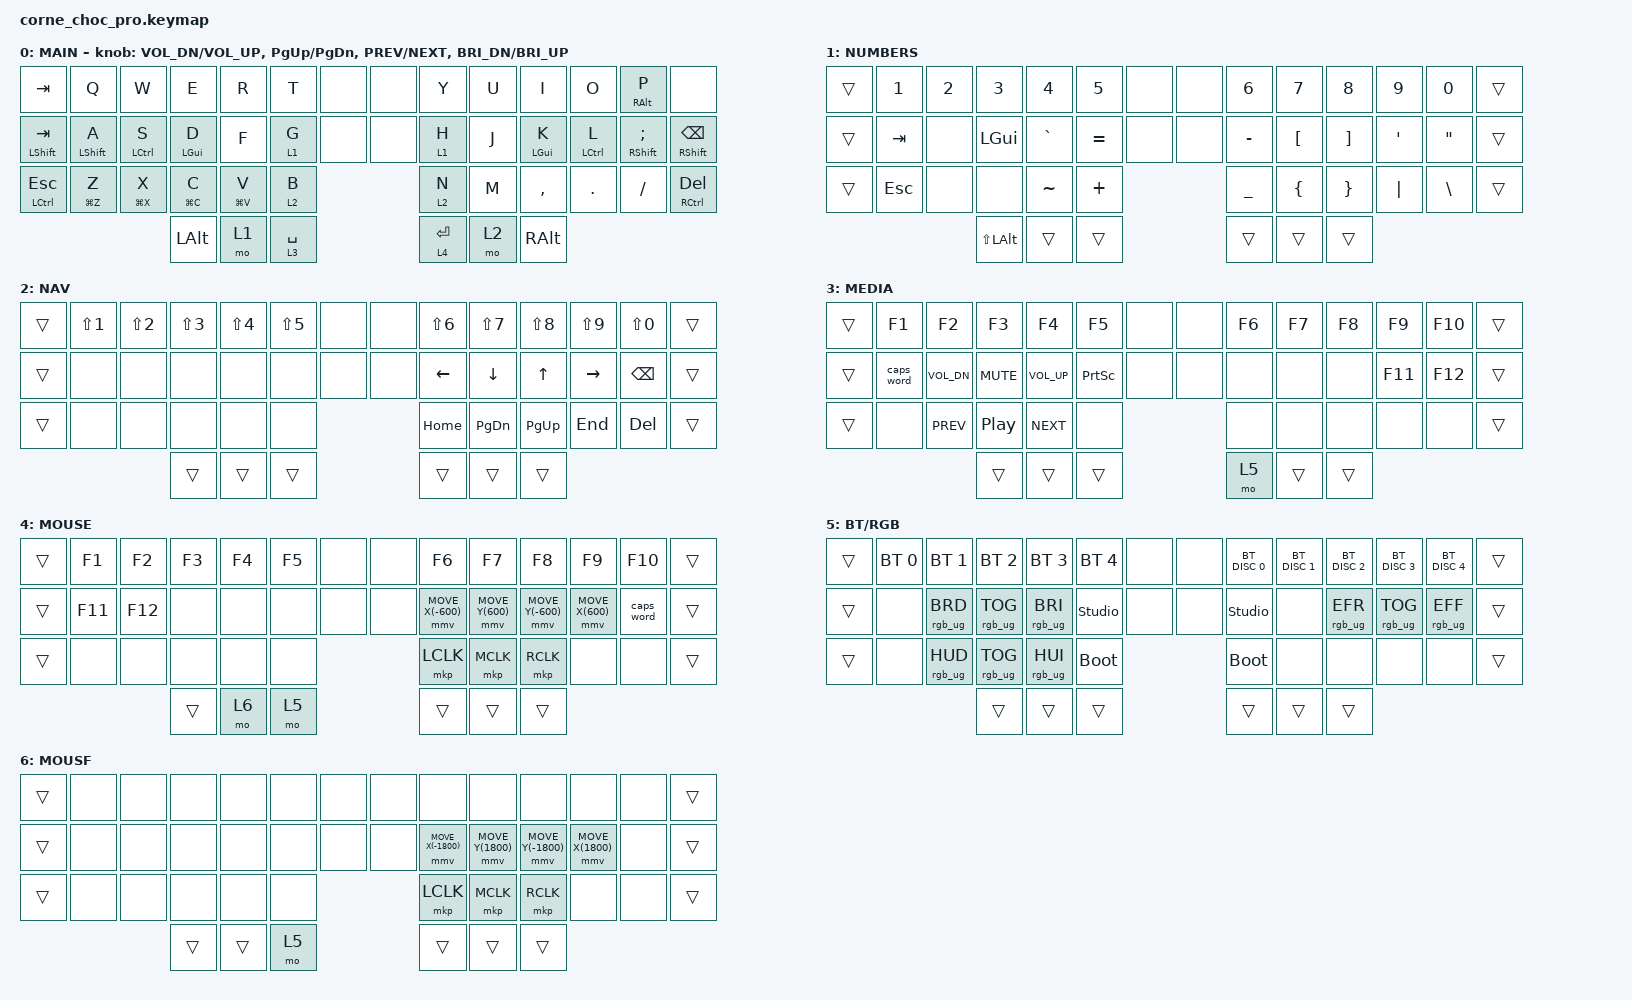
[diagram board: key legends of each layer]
/*
 * Copyright (c) 2020 The ZMK Contributors
 *
 * SPDX-License-Identifier: MIT
 */

#include <behaviors.dtsi>
#include <dt-bindings/zmk/keys.h>
#include <dt-bindings/zmk/bt.h>
#include <dt-bindings/zmk/pointing.h>
#include <dt-bindings/zmk/rgb.h>
#include "key-labels/corne_choc_pro.h"
#include "behaviors.dtsi"

/ {
    chosen {
        zmk,physical-layout = &default_layout;
    };
    combos {
        compatible = "zmk,combos";

        combo_df {
            timeout-ms = <50>;
            require-prior-idle-ms = <50>;
            key-positions = <17 18>;
            bindings = <&kp ESC>;
        };

        combo_jk {
            timeout-ms = <50>;
            require-prior-idle-ms = <50>;
            key-positions = <23 24>;
            bindings = <&kp ESC>;
        };

        combo_caps_word {
            timeout-ms = <50>;
            key-positions = <LM4 RM4>;
            bindings = <&caps_word>;
        };
    };

    keymap {
        compatible = "zmk,keymap";

        default_layer {
            display-name = "MAIN";
            bindings = <
            &kp TAB         &kp Q               &kp W               &kp E               &kp R               &kp T            &none   &none   &kp Y           &kp U             &kp I                 &kp O            &hmr RALT P      &none
            &mtq LSHIFT TAB &hml LSHIFT A       &hml LCTRL S        &hml LGUI D         &kp F               &ltq 1 G         &none   &none   &ltq 1 H        &kp J             &hmr LGUI K           &hmr LCTRL L     &hmr RSHIFT SEMI &mtq RSHIFT BSPC
            &mtq LCTRL ESC  &mts LG(Z) Z        &mts LG(X) X        &mts LG(C) C        &mts LG(V) V        &ltq 2 B                         &ltq 2 N        &kp M             &kp COMMA             &kp DOT          &kp FSLH         &mtq RCTRL DELETE
                                                                    &kp LALT            &mo 1               &lts 3 SPACE                     &lts 4 RET      &mo 2             &kp RALT
            >;
            sensor-bindings = <&inc_dec_kp C_VOL_DN C_VOL_UP &inc_dec_kp PG_UP PG_DN &inc_dec_kp C_PREV C_NEXT &inc_dec_kp C_BRI_DN C_BRI_UP>;
        };

        numbers_layer {
            display-name = "NUMBERS";
            bindings = <
            &trans  &kp N1              &kp N2              &kp N3              &kp N4              &kp N5           &none   &none   &kp N6          &kp N7            &kp N8                &kp N9           &kp N0           &trans
            &trans  &kp TAB             &none               &kp LGUI            &kp GRAVE           &kp EQUAL        &none   &none   &kp MINUS       &kp LEFT_BRACKET  &kp RIGHT_BRACKET     &kp SQT          &kp DQT          &trans
            &trans  &kp ESC             &none               &none               &kp TILDE           &kp PLUS                         &kp UNDER       &kp LEFT_BRACE    &kp RIGHT_BRACE       &kp PIPE         &kp BSLH         &trans
                                                            &kp LS(LALT)        &trans              &trans           &trans          &trans            &trans
            >;
        };

        nav_layer {
            display-name = "NAV";
            bindings = <
            &trans  &kp LS(N1)          &kp LS(N2)          &kp LS(N3)          &kp LS(N4)          &kp LS(N5)       &none   &none   &kp LS(N6)      &kp LS(N7)        &kp LS(N8)            &kp LS(N9)       &kp LS(N0)       &trans
            &trans  &none               &none               &none               &none               &none            &none   &none   &kp LEFT        &kp DOWN          &kp UP                &kp RIGHT        &kp BSPC         &trans
            &trans  &none               &none               &none               &none               &none                            &kp HOME        &kp PG_DN         &kp PG_UP             &kp END          &kp DELETE       &trans
                                                            &trans              &trans              &trans                           &trans          &trans            &trans
            >;
        };

        media_layer {
            display-name = "MEDIA";
            bindings = <
            &trans  &kp F1              &kp F2              &kp F3              &kp F4              &kp F5           &none   &none   &kp F6          &kp F7            &kp F8                &kp F9           &kp F10          &trans
            &trans  &caps_word          &kp C_VOL_DN        &kp C_MUTE          &kp C_VOL_UP        &kp PRINTSCREEN  &none   &none   &none           &none             &none                 &kp F11          &kp F12          &trans
            &trans  &none               &kp C_PREV          &kp C_PP            &kp C_NEXT          &none                            &none           &none             &none                 &none            &none            &trans
                                                            &trans              &trans              &trans                           &mo 5           &trans            &trans
            >;
        };

        mouse_layer {
            display-name = "MOUSE";
            bindings = <
            &trans  &kp F1              &kp F2              &kp F3              &kp F4              &kp F5           &none   &none   &kp F6          &kp F7            &kp F8                &kp F9           &kp F10          &trans
            &trans  &kp F11             &kp F12             &none               &none               &none            &none   &none   &mmv MOVE_X(-600) &mmv MOVE_Y(600) &mmv MOVE_Y(-600)    &mmv MOVE_X(600) &caps_word       &trans
            &trans  &none               &none               &none               &none               &none                            &mkp LCLK       &mkp MCLK         &mkp RCLK             &none            &none            &trans
                                                            &trans              &mo 6               &mo 5                            &trans          &trans            &trans
            >;
        };

        btrgb_layer {
            display-name = "BT/RGB";
            bindings = <
            &trans  &bt BT_SEL 0        &bt BT_SEL 1        &bt BT_SEL 2        &bt BT_SEL 3        &bt BT_SEL 4     &none   &none   &bt BT_DISC 0   &bt BT_DISC 1     &bt BT_DISC 2         &bt BT_DISC 3    &bt BT_DISC 4    &trans
            &trans  &none               &rgb_ug RGB_BRD     &rgb_ug RGB_TOG     &rgb_ug RGB_BRI     &studio_unlock   &none   &none   &studio_unlock  &none             &rgb_ug RGB_EFR       &rgb_ug RGB_TOG  &rgb_ug RGB_EFF  &trans
            &trans  &none               &rgb_ug RGB_HUD     &rgb_ug RGB_TOG     &rgb_ug RGB_HUI     &bootloader                      &bootloader     &none             &none                 &none            &none            &trans
                                                            &trans              &trans              &trans                           &trans          &trans            &trans
            >;
        };

        mousefast_layer {
            display-name = "MOUSF";
            bindings = <
            &trans  &none               &none               &none               &none               &none            &none   &none   &none           &none             &none                 &none            &none            &trans
            &trans  &none               &none               &none               &none               &none            &none   &none   &mmv MOVE_X(-1800) &mmv MOVE_Y(1800) &mmv MOVE_Y(-1800) &mmv MOVE_X(1800) &none            &trans
            &trans  &none               &none               &none               &none               &none                            &mkp LCLK       &mkp MCLK         &mkp RCLK             &none            &none            &trans
                                                            &trans              &trans              &mo 5                            &trans          &trans            &trans
            >;
        };
    };
};
